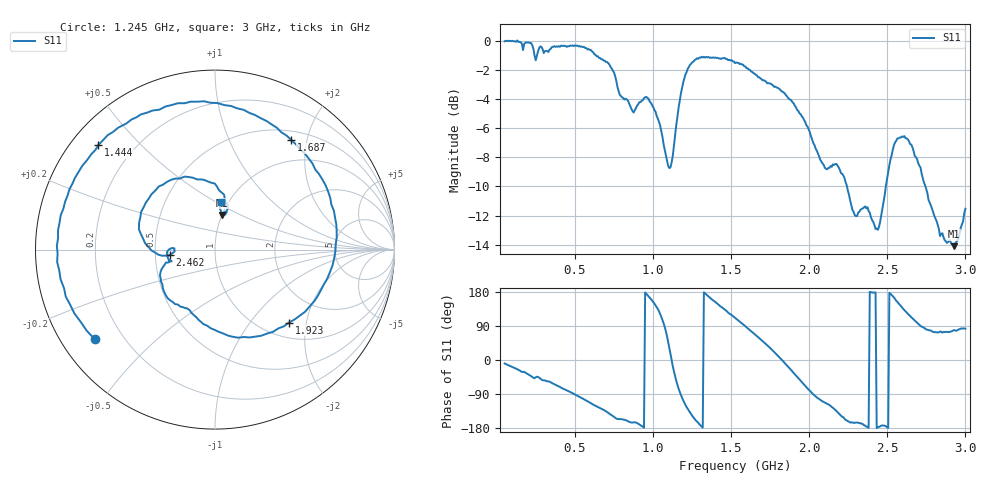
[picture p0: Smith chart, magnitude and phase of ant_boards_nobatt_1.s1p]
! nanovna_capture.py 2026-11-02T23:18:07+0900
! NanoVNA-F_V2 fw 0.6.0 SN 4A3639384505514B
! cal: load open short cal'ed  over 50000000-3000000000 Hz, 201 points
! points 401, avg 4
! implant antenna in the shell, both boards (Ledger main board, implant modem board) back in, battery out, same coax routing
# HZ S RI R 50
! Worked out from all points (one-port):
!   401 points, 50 MHz to 3 GHz, reference 50 ohm
!   lowest |S11| = -14.1 dB at 2.926 GHz (marker M1), VSWR 1.49, Z = 49.8 + j20.1 ohm
!   |S11| at or under -10 dB: 2.242 GHz to 2.491 GHz (248.8 MHz wide, 10.5 % of centre); 2.744 GHz to end of sweep
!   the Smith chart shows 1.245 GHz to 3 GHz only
!   S11 on the Smith chart (normalised r, x): 1.245 GHz: 0.10, -0.33; 1.444 GHz: 0.08, +0.38; 1.687 GHz: 0.64, +1.74; 1.923 GHz: 1.30, -1.59; 2.462 GHz: 0.60, -0.04; 3 GHz: 0.93, +0.52
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5e7  0.9843 -0.1596
2.19625e8  0.726 -0.6639
4.1875e8  0.2539 -0.9268
5.88375e8  -0.3314 -0.8772
7.21125e8  -0.6532 -0.5113
7.875e8  -0.5956 -0.2676
9.055e8  -0.5932 -0.1248
9.71875e8  -0.6183 0.1323
1.060375e9  -0.1281 0.4514
1.112e9  0.3534 0.1016
1.15625e9  0.2255 -0.4993
1.193125e9  -0.201 -0.6904
1.24475e9  -0.6692 -0.4999
1.325875e9  -0.8812 0.0215
1.443875e9  -0.6494 0.583
1.525e9  -0.31 0.7796
1.68725e9  0.4253 0.6101
1.797875e9  0.6759 0.1412
1.89375e9  0.5263 -0.3179
1.92325e9  0.412 -0.4066
2.056e9  -0.0781 -0.4032
2.2625e9  -0.2733 -0.0719
2.461625e9  -0.25 -0.0296
2.550125e9  -0.4229 0.1483
2.63125e9  -0.2429 0.3896
2.74925e9  0.0506 0.3059
2.92625e9  0.0374 0.1936
3e9  0.0337 0.2629
